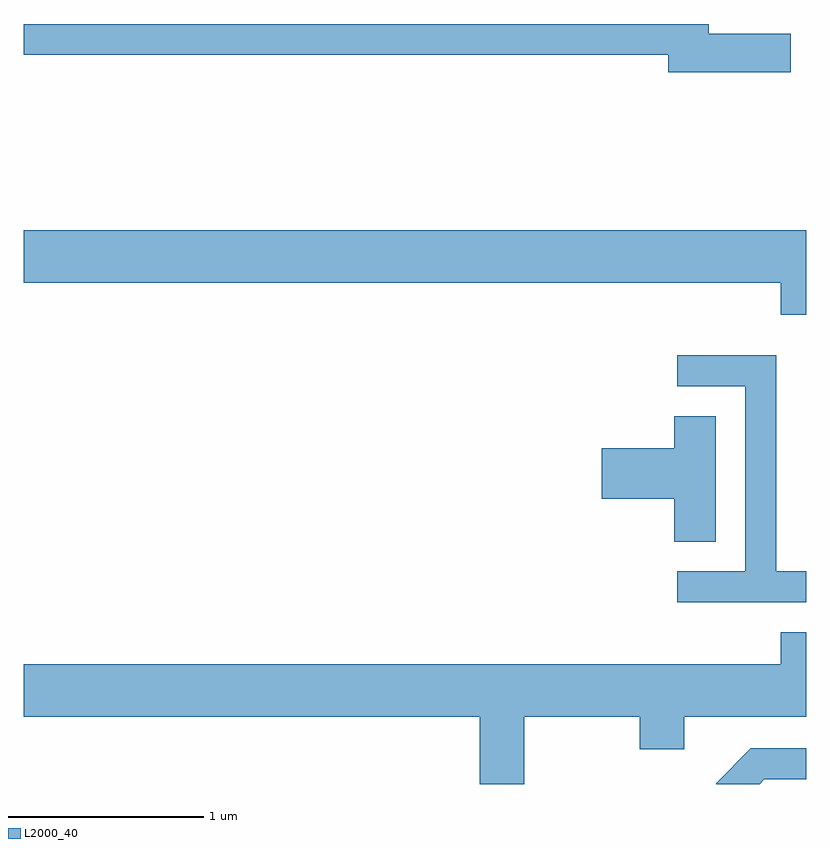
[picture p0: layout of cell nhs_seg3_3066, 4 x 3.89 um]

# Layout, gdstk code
import gdstk
lib = gdstk.Library(unit=1e-6, precision=1e-09)
def P(c, l, *ps):  # polygons
    for p in ps: c.add(gdstk.Polygon(p, *l))
L2000_40 = (2000, 40)

nhs_seg3_3066 = lib.new_cell('nhs_seg3_3066')
P(nhs_seg3_3066, L2000_40, [(279.534,1131.729),(279.114,1131.729),(279.114,1131.779),(275.611,1131.779),(275.611,1131.621),(278.906,1131.621),(278.906,1131.531),(279.534,1131.531)],
  [(279.611,1130.724),(275.611,1130.724),(275.611,1130.456),(279.481,1130.456),(279.481,1130.291),(279.611,1130.291)],
  [(279.611,1128.979),(279.459,1128.979),(279.459,1130.084),(278.953,1130.084),(278.953,1129.926),(279.301,1129.926),(279.301,1128.979),(278.953,1128.979),(278.953,1128.821),(279.611,1128.821)],
  [(279.149,1129.774),(278.936,1129.774),(278.936,1129.609),(278.566,1129.609),(278.566,1129.351),(278.936,1129.351),(278.936,1129.131),(279.149,1129.131)],
  [(278.169,1128.236),(278.761,1128.236),(278.761,1128.071),(278.989,1128.071),(278.989,1128.236),(279.611,1128.236),(279.611,1128.669),(279.481,1128.669),(279.481,1128.504),(275.611,1128.504),(275.611,1128.236),(277.941,1128.236),(277.941,1127.892),(278.169,1127.892)],
  [(279.397,1127.916),(279.611,1127.916),(279.611,1128.074),(279.329,1128.074),(279.151,1127.897),(279.151,1127.892),(279.373,1127.892)])

lib.write_gds('nhs_seg3_3066.gds')
